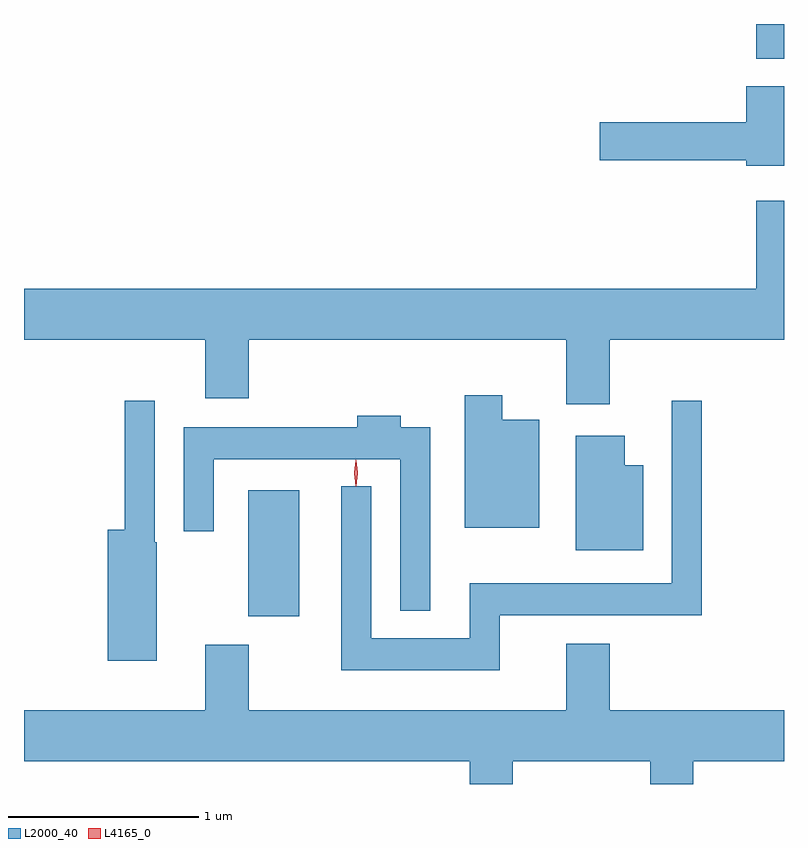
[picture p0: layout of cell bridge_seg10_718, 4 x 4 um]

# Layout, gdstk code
import gdstk
lib = gdstk.Library(unit=1e-6, precision=1e-09)
def R(c, l, rs):  # rectangles x0, y0, x1, y1
    for r in rs: c.add(gdstk.rectangle(r[:2], r[2:], *l))
def P(c, l, *ps):  # polygons
    for p in ps: c.add(gdstk.Polygon(p, *l))
L2000_40 = (2000, 40)
L4165_0 = (4165, 0)

bridge_seg10_718 = lib.new_cell('bridge_seg10_718')
R(bridge_seg10_718, L2000_40, [(868.686,2145.761,868.954,2146.424), (871.361,2148.693,871.506,2148.877)])
P(bridge_seg10_718, L2000_40, [(871.506,2148.549),(871.306,2148.549),(871.306,2148.359),(870.536,2148.359),(870.536,2148.161),(871.306,2148.161),(871.306,2148.131),(871.506,2148.131)],
  [(870.589,2147.216),(871.506,2147.216),(871.506,2147.948),(871.361,2147.948),(871.361,2147.484),(867.506,2147.484),(867.506,2147.216),(868.461,2147.216),(868.461,2146.906),(868.689,2146.906),(868.689,2147.216),(870.361,2147.216),(870.361,2146.876),(870.589,2146.876)],
  [(870.219,2146.794),(870.024,2146.794),(870.024,2146.924),(869.826,2146.924),(869.826,2146.226),(870.219,2146.226)],
  [(870.009,2145.766),(871.074,2145.766),(871.074,2146.893),(870.916,2146.893),(870.916,2145.934),(869.851,2145.934),(869.851,2145.644),(869.334,2145.644),(869.334,2146.443),(869.176,2146.443),(869.176,2145.476),(870.009,2145.476)],
  [(868.204,2146.15),(868.194,2146.15),(868.194,2146.893),(868.036,2146.893),(868.036,2146.214),(867.946,2146.214),(867.946,2145.526),(868.204,2145.526)],
  [(869.644,2146.754),(869.489,2146.754),(869.489,2146.814),(869.261,2146.814),(869.261,2146.754),(868.346,2146.754),(868.346,2146.208),(868.504,2146.208),(868.504,2146.586),(869.486,2146.586),(869.486,2145.788),(869.644,2145.788)],
  [(870.764,2146.554),(870.669,2146.554),(870.669,2146.709),(870.411,2146.709),(870.411,2146.106),(870.764,2146.106)],
  [(870.079,2144.996),(870.801,2144.996),(870.801,2144.877),(871.029,2144.877),(871.029,2144.996),(871.506,2144.996),(871.506,2145.264),(870.589,2145.264),(870.589,2145.614),(870.361,2145.614),(870.361,2145.264),(868.689,2145.264),(868.689,2145.609),(868.461,2145.609),(868.461,2145.264),(867.506,2145.264),(867.506,2144.996),(869.851,2144.996),(869.851,2144.877),(870.079,2144.877)])
P(bridge_seg10_718, L4165_0, [(869.253,2146.447),(869.253,2146.447),(869.243,2146.514),(869.253,2146.58),(869.253,2146.58),(869.254,2146.58),(869.263,2146.514),(869.254,2146.447)],
  [(869.253,2146.443),(869.253,2146.444),(869.243,2146.513),(869.253,2146.582),(869.253,2146.583),(869.254,2146.582),(869.263,2146.513),(869.254,2146.444)])

lib.write_gds('bridge_seg10_718.gds')
